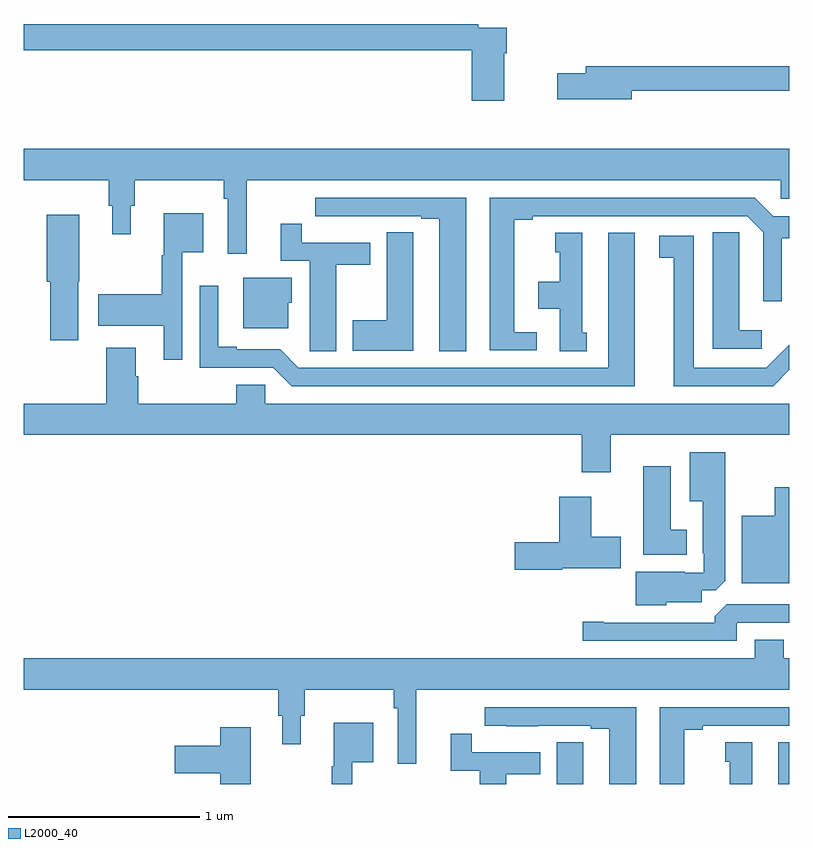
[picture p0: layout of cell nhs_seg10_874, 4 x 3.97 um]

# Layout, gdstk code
import gdstk
lib = gdstk.Library(unit=1e-6, precision=1e-09)
def R(c, l, rs):  # rectangles x0, y0, x1, y1
    for r in rs: c.add(gdstk.rectangle(r[:2], r[2:], *l))
def P(c, l, *ps):  # polygons
    for p in ps: c.add(gdstk.Polygon(p, *l))
L2000_40 = (2000, 40)

nhs_seg10_874 = lib.new_cell('nhs_seg10_874')
R(nhs_seg10_874, L2000_40, [(158.942,1290.5,159,1290.718)])
P(nhs_seg10_874, L2000_40, [(157.51,1294.319),(157.523,1294.319),(157.523,1294.452),(157.376,1294.452),(157.376,1294.472),(155,1294.472),(155,1294.336),(157.34,1294.336),(157.34,1294.071),(157.51,1294.071)],
  [(158.176,1294.122),(159,1294.122),(159,1294.25),(157.937,1294.25),(157.937,1294.214),(157.788,1294.214),(157.788,1294.079),(158.176,1294.079)],
  [(156.164,1293.656),(158.955,1293.656),(158.955,1293.558),(159,1293.558),(159,1293.82),(155,1293.82),(155,1293.656),(155.443,1293.656),(155.443,1293.522),(155.462,1293.522),(155.462,1293.372),(155.56,1293.372),(155.56,1293.522),(155.579,1293.522),(155.579,1293.656),(156.046,1293.656),(156.046,1293.56),(156.066,1293.56),(156.066,1293.27),(156.164,1293.27)],
  [(157.312,1293.564),(156.522,1293.564),(156.522,1293.468),(156.634,1293.468),(156.634,1293.467),(156.8,1293.467),(156.8,1293.468),(157.076,1293.468),(157.076,1293.453),(157.172,1293.453),(157.172,1292.761),(157.312,1292.761)],
  [(157.681,1292.862),(157.564,1292.862),(157.564,1293.448),(157.66,1293.448),(157.66,1293.468),(158.781,1293.468),(158.865,1293.384),(158.865,1293.024),(158.962,1293.024),(158.962,1293.352),(159,1293.352),(159,1293.468),(158.917,1293.468),(158.821,1293.564),(157.436,1293.564),(157.436,1292.766),(157.681,1292.766)],
  [(155.829,1293.278),(155.938,1293.278),(155.938,1293.484),(155.732,1293.484),(155.732,1293.264),(155.721,1293.264),(155.721,1293.06),(155.388,1293.06),(155.388,1292.894),(155.732,1292.894),(155.732,1292.718),(155.829,1292.718)],
  [(155.284,1293.126),(155.29,1293.126),(155.29,1293.475),(155.12,1293.475),(155.12,1293.126),(155.138,1293.126),(155.138,1292.82),(155.284,1292.82)],
  [(156.634,1293.214),(156.811,1293.214),(156.811,1293.33),(156.452,1293.33),(156.452,1293.427),(156.344,1293.427),(156.344,1293.234),(156.494,1293.234),(156.494,1292.872),(156.495,1292.872),(156.495,1292.761),(156.634,1292.761)],
  [(157.036,1293.275),(157.035,1293.275),(157.035,1293.383),(156.896,1293.383),(156.896,1292.925),(156.719,1292.925),(156.719,1292.765),(157.036,1292.765)],
  [(158.857,1292.872),(158.74,1292.872),(158.74,1293.275),(158.739,1293.275),(158.739,1293.383),(158.6,1293.383),(158.6,1292.775),(158.857,1292.775)],
  [(158.194,1293.382),(158.054,1293.382),(158.054,1292.676),(156.435,1292.676),(156.339,1292.772),(156.112,1292.772),(156.112,1292.785),(156.016,1292.785),(156.016,1293.103),(155.919,1293.103),(155.919,1292.676),(156.303,1292.676),(156.399,1292.58),(158.194,1292.58)],
  [(157.942,1292.859),(157.918,1292.859),(157.918,1293.382),(157.778,1293.382),(157.778,1293.279),(157.802,1293.279),(157.802,1293.124),(157.688,1293.124),(157.688,1292.984),(157.802,1292.984),(157.802,1292.761),(157.942,1292.761)],
  [(159,1292.664),(159,1292.796),(158.88,1292.676),(158.5,1292.676),(158.5,1293.366),(158.322,1293.366),(158.322,1293.25),(158.396,1293.25),(158.396,1292.58),(158.916,1292.58)],
  [(156.382,1293.015),(156.4,1293.015),(156.4,1293.145),(156.146,1293.145),(156.146,1292.882),(156.382,1292.882)],
  [(158.068,1292.324),(159,1292.324),(159,1292.488),(156.261,1292.488),(156.261,1292.586),(156.11,1292.586),(156.11,1292.488),(155.597,1292.488),(155.597,1292.63),(155.584,1292.63),(155.584,1292.779),(155.432,1292.779),(155.432,1292.488),(155,1292.488),(155,1292.324),(157.916,1292.324),(157.916,1292.13),(158.068,1292.13)],
  [(158.358,1291.451),(158.542,1291.451),(158.542,1291.512),(158.616,1291.512),(158.665,1291.561),(158.665,1292.233),(158.48,1292.233),(158.48,1291.979),(158.549,1291.979),(158.549,1291.705),(158.553,1291.705),(158.553,1291.605),(158.453,1291.605),(158.453,1291.609),(158.198,1291.609),(158.198,1291.433),(158.358,1291.433)],
  [(158.464,1291.828),(158.38,1291.828),(158.38,1292.161),(158.237,1292.161),(158.237,1291.697),(158.464,1291.697)],
  [(159,1292.05),(158.924,1292.05),(158.924,1291.903),(158.753,1291.903),(158.753,1291.55),(159,1291.55)],
  [(157.815,1291.628),(158.119,1291.628),(158.119,1291.791),(157.966,1291.791),(157.966,1292.002),(157.799,1292.002),(157.799,1291.763),(157.566,1291.763),(157.566,1291.621),(157.815,1291.621)],
  [(158.727,1291.344),(159,1291.344),(159,1291.44),(158.673,1291.44),(158.612,1291.378),(158.612,1291.344),(158.032,1291.344),(158.032,1291.349),(157.92,1291.349),(157.92,1291.248),(158.727,1291.248)],
  [(158.819,1291.255),(158.819,1291.156),(155,1291.156),(155,1290.992),(156.331,1290.992),(156.331,1290.858),(156.35,1290.858),(156.35,1290.708),(156.448,1290.708),(156.448,1290.858),(156.467,1290.858),(156.467,1290.992),(156.934,1290.992),(156.934,1290.896),(156.954,1290.896),(156.954,1290.606),(157.052,1290.606),(157.052,1290.992),(159,1290.992),(159,1291.156),(158.972,1291.156),(158.972,1291.255)],
  [(158.2,1290.9),(157.41,1290.9),(157.41,1290.804),(157.522,1290.804),(157.522,1290.803),(157.688,1290.803),(157.688,1290.804),(157.964,1290.804),(157.964,1290.789),(158.06,1290.789),(158.06,1290.5),(158.2,1290.5)],
  [(158.452,1290.784),(158.548,1290.784),(158.548,1290.804),(159,1290.804),(159,1290.9),(158.324,1290.9),(158.324,1290.5),(158.452,1290.5)],
  [(156.717,1290.614),(156.826,1290.614),(156.826,1290.82),(156.62,1290.82),(156.62,1290.594),(156.609,1290.594),(156.609,1290.5),(156.717,1290.5)],
  [(156.186,1290.796),(156.026,1290.796),(156.026,1290.699),(155.79,1290.699),(155.79,1290.557),(156.026,1290.557),(156.026,1290.5),(156.186,1290.5)],
  [(157.522,1290.55),(157.699,1290.55),(157.699,1290.666),(157.34,1290.666),(157.34,1290.763),(157.232,1290.763),(157.232,1290.57),(157.382,1290.57),(157.382,1290.5),(157.522,1290.5)],
  [(157.924,1290.611),(157.923,1290.611),(157.923,1290.719),(157.784,1290.719),(157.784,1290.5),(157.924,1290.5)],
  [(158.806,1290.718),(158.666,1290.718),(158.666,1290.615),(158.69,1290.615),(158.69,1290.5),(158.806,1290.5)])

lib.write_gds('nhs_seg10_874.gds')
